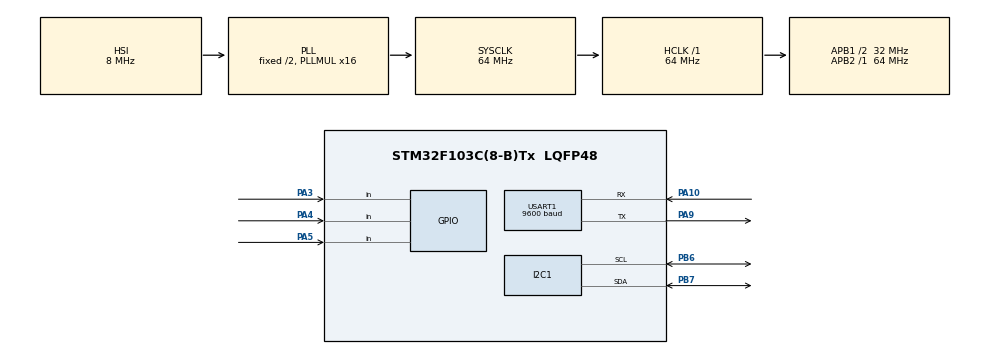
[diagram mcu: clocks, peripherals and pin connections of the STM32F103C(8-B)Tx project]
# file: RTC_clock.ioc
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Mcu.Family=STM32F1
Mcu.Name=STM32F103C(8-B)Tx
Mcu.Package=LQFP48
NVIC.PriorityGroup=NVIC_PRIORITYGROUP_4
NVIC.TIM2_IRQn=true\:1\:0\:true\:false\:true\:true\:true\:true
PA10.Mode=Asynchronous
PA10.Signal=USART1_RX
PA13.Mode=Serial_Wire
PA13.Signal=SYS_JTMS-SWDIO
PA14.Mode=Serial_Wire
PA14.Signal=SYS_JTCK-SWCLK
PA3.GPIO_PuPd=GPIO_PULLUP
PA3.Signal=GPIO_Input
PA4.GPIO_PuPd=GPIO_PULLUP
PA4.Signal=GPIO_Input
PA5.GPIO_PuPd=GPIO_PULLUP
PA5.Signal=GPIO_Input
PA9.Mode=Asynchronous
PA9.Signal=USART1_TX
PB6.Mode=I2C
PB6.Signal=I2C1_SCL
PB7.Mode=I2C
PB7.Signal=I2C1_SDA
ProjectManager.HeapSize=0x200
ProjectManager.StackSize=0x400
ProjectManager.TargetToolchain=STM32CubeIDE
RCC.AHBFreq_Value=64000000
RCC.APB1CLKDivider=RCC_HCLK_DIV2
RCC.APB1Freq_Value=32000000
RCC.APB1TimFreq_Value=64000000
RCC.APB2Freq_Value=64000000
RCC.APB2TimFreq_Value=64000000
RCC.HCLKFreq_Value=64000000
RCC.PLLMUL=RCC_PLL_MUL16
RCC.SYSCLKFreq_VALUE=64000000
RCC.SYSCLKSource=RCC_SYSCLKSOURCE_PLLCLK
RCC.USBFreq_Value=64000000
TIM2.Period=999
TIM2.Prescaler=63999
USART1.BaudRate=9600
USART1.VirtualMode=VM_ASYNC
VP_TIM2_VS_ClockSourceINT.Mode=Internal
board=custom

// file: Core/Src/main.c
/* USER CODE BEGIN Header */
/**
  ******************************************************************************
  * @file           : main.c
  * @brief          : Main program body
  ******************************************************************************
  * @attention
  *
  * Copyright (c) 2024 STMicroelectronics.
  * All rights reserved.
  *
  * This software is licensed under terms that can be found in the LICENSE file
  * in the root directory of this software component.
  * If no LICENSE file comes with this software, it is provided AS-IS.
  *
  ******************************************************************************
  */
/* USER CODE END Header */
#include "main.h"

/* USER CODE BEGIN Includes */
#include "rtc.h"
#include "LiquidCrystal_I2C.h"
#include "Button.h"
#include "DFPLAYER.h"
#include "stdbool.h"
/* USER CODE END Includes */

I2C_HandleTypeDef hi2c1;

TIM_HandleTypeDef htim2;

UART_HandleTypeDef huart1;

void SystemClock_Config(void);
static void MX_GPIO_Init(void);
static void MX_I2C1_Init(void);
static void MX_TIM2_Init(void);
static void MX_USART1_UART_Init(void);

/* USER CODE BEGIN 0 */
typedef enum
{
	alarm_mode,
	idle_mode,
	adjust_mode,
	timer_mode,
	select_ringtone,
}clock_mode;
clock_mode Mode = idle_mode;

typedef enum
{
	backlight_on,
	backlight_off,
}backlight_state;
backlight_state lcd_backlight = backlight_on;

typedef enum
{
	no_adjust,
	second_adjust,
	minute_adjust,
	hour_adjust,
	day_adjust,
	month_adjust,
	year_adjust,
}time_adjust;
time_adjust adjust_state = no_adjust;

typedef struct
{
	uint8_t hour;
	uint8_t minute;

}Time_alarm;
Time_alarm Time_to_alarm;

typedef enum
{
	alarm_not_set,
	alarm_setted,

}alarm_state;
alarm_state state_alarm = alarm_not_set;

typedef enum
{
	alarm_is_ringing,
	alarm_is_not_ring,
}alarm_has_ring_or_not;
alarm_has_ring_or_not alarm_flag = alarm_is_not_ring;

typedef struct
{
	uint8_t hour;
	uint8_t min;
	uint8_t sec;
	uint16_t milisec;
}Timer_time;
Timer_time display_timer;

bool timer_state = false;

LiquidCrystal_I2C hlcd;
RTC_Typedef ds3231;
DFPLAYER_Name mini_player;
Button_Typdef Button3;
Button_Typdef Button4;
Button_Typdef Button5;
uint32_t temp = 0;

uint8_t demo_track = 1;
uint8_t track_num = 1;

void HAL_TIM_PeriodElapsedCallback(TIM_HandleTypeDef *htim)
{
  if(htim->Instance == htim2.Instance)
  {
	  if(display_timer.sec == 59)
	  {

		  display_timer.sec = 0;
		  if(display_timer.min == 59)
		  {
			  display_timer.min = 0;
			  display_timer.hour++;
		  }
		  else{
		  display_timer.min++;
		  }
	  }
	  else
	  {
		  display_timer.sec++;
	  }

  }
}

void btn_press_short_callback(Button_Typdef *ButtonX )
{
	if(ButtonX == &Button3)
	{
		if (Mode == idle_mode)
		{
			Mode = adjust_mode;
			lcd_clear_display(&hlcd);
			HAL_Delay(1);
		}
		else if (Mode == alarm_mode)
		{
			state_alarm = alarm_setted;
			Mode = idle_mode;
			lcd_clear_display(&hlcd);
			HAL_Delay(1);
		}
		else
		{
			adjust_state = no_adjust;
			Mode = idle_mode;
			lcd_clear_display(&hlcd);
			HAL_Delay(1);
		}
	}
	if(ButtonX == &Button4)
	{
		if (Mode == adjust_mode)
		{
			switch(adjust_state)
			{
			case no_adjust:
				adjust_state = second_adjust;
				break;
			case second_adjust:
				adjust_state = minute_adjust;
				break;
			case minute_adjust:
				adjust_state = hour_adjust;
				break;
			case hour_adjust:
				adjust_state = day_adjust;
				break;
			case day_adjust:
				adjust_state = month_adjust;
				break;
			case month_adjust:
				adjust_state = year_adjust;
				break;
			case year_adjust:
				adjust_state = no_adjust;
				break;
			}
		}
		else if (Mode == alarm_mode)
		{
			switch(adjust_state)
			{
			case no_adjust:
				adjust_state = minute_adjust;
				break;
			case minute_adjust:
				adjust_state = hour_adjust;
				break;
			case hour_adjust:
				adjust_state = no_adjust;
				break;
			default:
				break;
			}
		}
		else if (Mode == timer_mode)
		{
			// start/stop  timer
			if(timer_state == false)
			{
				HAL_TIM_Base_Start_IT(&htim2);
				timer_state = true;
			}
			else
			{
				HAL_TIM_Base_Stop_IT(&htim2);
				timer_state = false;
			}

		}
		else if (Mode == select_ringtone)
		{
			if(demo_track <9)
			{
				demo_track++;
			}
			else
			{
				demo_track = 1;
			}
			DFPLAYER_PlayTrack(&mini_player, demo_track);
		}
	}
	if(ButtonX == &Button5)
	{
		if(state_alarm == alarm_setted && alarm_flag == alarm_is_ringing)
		{
			state_alarm = alarm_not_set;
			alarm_flag = alarm_is_not_ring;
			DFPLAYER_Stop(&mini_player);
		}
		else{
			if(Mode == idle_mode)
			{
				if(lcd_backlight == backlight_on)
				{
					lcd_backlight_off(&hlcd);
					lcd_backlight = backlight_off;
				}
				else if(lcd_backlight == backlight_off)
				{
					lcd_backlight_on(&hlcd);
					lcd_backlight = backlight_on;
				}
			}
			if (Mode == alarm_mode)
			{
				// adjust time to alarm
				switch (adjust_state) {
					case minute_adjust:
						if(Time_to_alarm.minute == 59)
						{
							Time_to_alarm.minute = 0;
						}
						else
						{
							Time_to_alarm.minute++;
						}
						break;
					case hour_adjust:
						if(Time_to_alarm.hour == 23)
						{
							Time_to_alarm.hour = 0;
						}
						else
						{
							Time_to_alarm.hour++;
						}
						break;
					default:
						break;
				}
			}
			if(Mode == adjust_mode)
			{
				// adjust time
				switch(adjust_state)
				{
				case second_adjust:
					RTC_ReadTime(&ds3231, ds3231.time);
					if(ds3231.time->sec == 59)
					{
						ds3231.time->sec = 0;
					}
					else
					{
						ds3231.time->sec++;
					}
					RTC_WriteTime(&ds3231, ds3231.time);
					break;
				case minute_adjust:
					RTC_ReadTime(&ds3231, ds3231.time);
					if(ds3231.time->min == 59)
					{
						ds3231.time->min = 0;
					}
					else
					{
						ds3231.time->min++;
					}
					RTC_WriteTime(&ds3231, ds3231.time);
					break;
				case hour_adjust:
					RTC_ReadTime(&ds3231, ds3231.time);
					if(ds3231.time->hour == 23)
					{
						ds3231.time->hour = 0;
					}
					else
					{
						ds3231.time->hour++;
					}
					RTC_WriteTime(&ds3231, ds3231.time);
					break;
				case day_adjust:
					RTC_ReadTime(&ds3231, ds3231.time);
					if(ds3231.time->date == 31)
					{
						ds3231.time->date = 1;
					}
					else
					{
						ds3231.time->date++;
					}
					RTC_WriteTime(&ds3231, ds3231.time);
					break;
				case month_adjust:
					RTC_ReadTime(&ds3231, ds3231.time);
					if(ds3231.time->month == 12)
					{
						ds3231.time->month = 1;
					}
					else
					{
						ds3231.time->month++;
					}
					RTC_WriteTime(&ds3231, ds3231.time);
					break;
				case year_adjust:
					RTC_ReadTime(&ds3231, ds3231.time);
					if(ds3231.time->year == 99)
					{
						ds3231.time->year = 1;
					}
					else
					{
						ds3231.time->year++;
					}
					RTC_WriteTime(&ds3231, ds3231.time);
					break;
				case no_adjust:
					break;
				}
			}
			if(Mode == timer_mode)
			{
				// reset timer
				HAL_TIM_Base_Stop(&htim2);
				display_timer.hour = 0;
				display_timer.min = 0;
				display_timer.sec = 0;
				htim2.Instance->CNT = 0;
				timer_state = false;
			}
			if(Mode == select_ringtone)
			{
				track_num = demo_track;
				DFPLAYER_Stop(&mini_player);
				Mode = idle_mode;
				lcd_clear_display(&hlcd);
				HAL_Delay(1);
			}
		}
	}
}

void btn_press_timeout1s_callback(Button_Typdef *ButtonX)
{
	if(ButtonX == &Button3)
	{
		Mode = select_ringtone;
		lcd_clear_display(&hlcd);
		HAL_Delay(1);
	}
}

void btn_press_timeout2s_callback(Button_Typdef *ButtonX)
{
	if(ButtonX == &Button3)
	{
		adjust_state = no_adjust;
		Mode = alarm_mode;
		lcd_clear_display(&hlcd);
		HAL_Delay(1);
//		temp++;
	}
	if(ButtonX == &Button4)
	{
//		if(Mode == alarm_mode)
//		{
//			state_alarm = alarm_setted;
//		}
	}
}

void btn_press_timeout3s_callback(Button_Typdef *ButtonX)
{
	if(ButtonX == &Button3)
	{
		adjust_state = no_adjust;
		Mode = timer_mode;
		lcd_clear_display(&hlcd);
		HAL_Delay(1);
	}
}

void alarm_handle()
{
	  if(state_alarm == alarm_setted && alarm_flag == alarm_is_not_ring)
	  {
		  if(Time_to_alarm.hour == ds3231.time->hour && Time_to_alarm.minute == ds3231.time->min)
		  {
			  alarm_flag = alarm_is_ringing;
			  DFPLAYER_PlayTrack(&mini_player, track_num);
		  }
	  }
	  if(state_alarm == alarm_setted && alarm_flag == alarm_is_ringing)
	  {

		  if(HAL_GetTick() - temp >= 1000){
			  if(lcd_backlight ==  backlight_on){
				  lcd_backlight_off(&hlcd);
				  lcd_backlight = backlight_off;
			  }
			  else{
				  lcd_backlight_on(&hlcd);
				  lcd_backlight = backlight_on;
			  }
			  temp = HAL_GetTick();
		  }
	  }
}
void display_handle()
{
	switch(Mode)
	{
	case idle_mode:
		RTC_ReadTime(&ds3231,ds3231.time);
		lcd_set_cursor(&hlcd, 1,4);
		lcd_printf(&hlcd, "%02d:%02d:%02d",ds3231.time->hour,
				ds3231.time->min, ds3231.time->sec);
		lcd_set_cursor(&hlcd, 0,4);
		lcd_printf(&hlcd, "%02d-%02d-%02d",ds3231.time->date,
				ds3231.time->month,ds3231.time->year);
		break;
	case adjust_mode:
		RTC_ReadTime(&ds3231,ds3231.time);
		lcd_set_cursor(&hlcd, 1,4);
		lcd_printf(&hlcd, "%02d:%02d:%02d",ds3231.time->hour,
				ds3231.time->min, ds3231.time->sec);
		lcd_set_cursor(&hlcd, 0,4);
		lcd_printf(&hlcd, "%02d-%02d-%02d",ds3231.time->date,
				ds3231.time->month,ds3231.time->year);
		break;
	case timer_mode:
		lcd_set_cursor(&hlcd, 0, 2);
		lcd_printf(&hlcd, "Sport Timer");
		lcd_set_cursor(&hlcd, 1, 2);
		lcd_printf(&hlcd, "%02d:%02d:%02d.%03d",display_timer.hour, display_timer.min, display_timer.sec, htim2.Instance->CNT);
		break;
	case alarm_mode:
		lcd_set_cursor(&hlcd, 0, 2);
		lcd_printf(&hlcd, "Alarm Mode");
		lcd_set_cursor(&hlcd, 1,2);
		lcd_printf(&hlcd, "%02d-%02d",Time_to_alarm.hour, Time_to_alarm.minute);
		break;
	case select_ringtone:
		lcd_set_cursor(&hlcd, 0, 2);
		lcd_printf(&hlcd, "Select ringtone");
		lcd_set_cursor(&hlcd, 1,0);
		lcd_printf(&hlcd, "Track number:%02d",demo_track);
		break;

	}
}
/* USER CODE END 0 */

int main(void)
{
  /* USER CODE BEGIN 1 */

	DateTime date1;
 	date1.date = 1;
	date1.day = 31;
	date1.month = 11;
	date1.year = 24;
	date1.hour = 10;
	date1.min = 30;
	date1.sec = 0;
	RTC_WriteTime(&ds3231, &date1);
  /* USER CODE END 1 */

  /* MCU Configuration--------------------------------------------------------*/

  /* Reset of all peripherals, Initializes the Flash interface and the Systick. */
  HAL_Init();

  /* Configure the system clock */
  SystemClock_Config();

  /* Initialize all configured peripherals */
  MX_GPIO_Init();
  MX_I2C1_Init();
  MX_TIM2_Init();
  MX_USART1_UART_Init();
  /* USER CODE BEGIN 2 */
  button_init(&Button3, GPIOA, GPIO_PIN_3);
  button_init(&Button4, GPIOA, GPIO_PIN_4);
  button_init(&Button5, GPIOA, GPIO_PIN_5);
  RTC_Init(&ds3231, &hi2c1, &date1);
  DFPLAYER_Init(&mini_player, &huart1);
  lcd_init(&hlcd, &hi2c1, LCD_ADDR_DEFAULT);
  DFPLAYER_SetVolume(&mini_player, 27);

//  lcd_printf(&hlcd, "Ngu_vl");

  /* USER CODE END 2 */

  /* Infinite loop */
  while (1)
  {

    /* USER CODE BEGIN 3 */
//	  lcd_backlight_off(&hlcd);
//	  HAL_Delay(500);
//	  lcd_backlight_on(&hlcd);
//	  HAL_Delay(500);
	  button_handle(&Button3);
	  button_handle(&Button4);
	  button_handle(&Button5);
	  display_handle();
	  alarm_handle();
  }
  /* USER CODE END 3 */
}

void SystemClock_Config(void)
{
  RCC_OscInitTypeDef RCC_OscInitStruct = {0};
  RCC_ClkInitTypeDef RCC_ClkInitStruct = {0};

  /** Initializes the RCC Oscillators according to the specified parameters
  * in the RCC_OscInitTypeDef structure.
  */
  RCC_OscInitStruct.OscillatorType = RCC_OSCILLATORTYPE_HSI;
  RCC_OscInitStruct.HSIState = RCC_HSI_ON;
  RCC_OscInitStruct.HSICalibrationValue = RCC_HSICALIBRATION_DEFAULT;
  RCC_OscInitStruct.PLL.PLLState = RCC_PLL_ON;
  RCC_OscInitStruct.PLL.PLLSource = RCC_PLLSOURCE_HSI_DIV2;
  RCC_OscInitStruct.PLL.PLLMUL = RCC_PLL_MUL16;
  if (HAL_RCC_OscConfig(&RCC_OscInitStruct) != HAL_OK)
  {
    Error_Handler();
  }

  /** Initializes the CPU, AHB and APB buses clocks
  */
  RCC_ClkInitStruct.ClockType = RCC_CLOCKTYPE_HCLK|RCC_CLOCKTYPE_SYSCLK
                              |RCC_CLOCKTYPE_PCLK1|RCC_CLOCKTYPE_PCLK2;
  RCC_ClkInitStruct.SYSCLKSource = RCC_SYSCLKSOURCE_PLLCLK;
  RCC_ClkInitStruct.AHBCLKDivider = RCC_SYSCLK_DIV1;
  RCC_ClkInitStruct.APB1CLKDivider = RCC_HCLK_DIV2;
  RCC_ClkInitStruct.APB2CLKDivider = RCC_HCLK_DIV1;

  if (HAL_RCC_ClockConfig(&RCC_ClkInitStruct, FLASH_LATENCY_2) != HAL_OK)
  {
    Error_Handler();
  }
}

static void MX_I2C1_Init(void)
{

  hi2c1.Instance = I2C1;
  hi2c1.Init.ClockSpeed = 100000;
  hi2c1.Init.DutyCycle = I2C_DUTYCYCLE_2;
  hi2c1.Init.OwnAddress1 = 0;
  hi2c1.Init.AddressingMode = I2C_ADDRESSINGMODE_7BIT;
  hi2c1.Init.DualAddressMode = I2C_DUALADDRESS_DISABLE;
  hi2c1.Init.OwnAddress2 = 0;
  hi2c1.Init.GeneralCallMode = I2C_GENERALCALL_DISABLE;
  hi2c1.Init.NoStretchMode = I2C_NOSTRETCH_DISABLE;
  if (HAL_I2C_Init(&hi2c1) != HAL_OK)
  {
    Error_Handler();
  }

}

static void MX_TIM2_Init(void)
{

  TIM_ClockConfigTypeDef sClockSourceConfig = {0};
  TIM_MasterConfigTypeDef sMasterConfig = {0};

  htim2.Instance = TIM2;
  htim2.Init.Prescaler = 63999;
  htim2.Init.CounterMode = TIM_COUNTERMODE_UP;
  htim2.Init.Period = 999;
  htim2.Init.ClockDivision = TIM_CLOCKDIVISION_DIV1;
  htim2.Init.AutoReloadPreload = TIM_AUTORELOAD_PRELOAD_DISABLE;
  if (HAL_TIM_Base_Init(&htim2) != HAL_OK)
  {
    Error_Handler();
  }
  sClockSourceConfig.ClockSource = TIM_CLOCKSOURCE_INTERNAL;
  if (HAL_TIM_ConfigClockSource(&htim2, &sClockSourceConfig) != HAL_OK)
  {
    Error_Handler();
  }
  sMasterConfig.MasterOutputTrigger = TIM_TRGO_RESET;
  sMasterConfig.MasterSlaveMode = TIM_MASTERSLAVEMODE_DISABLE;
  if (HAL_TIMEx_MasterConfigSynchronization(&htim2, &sMasterConfig) != HAL_OK)
  {
    Error_Handler();
  }

}

static void MX_USART1_UART_Init(void)
{

  huart1.Instance = USART1;
  huart1.Init.BaudRate = 9600;
  huart1.Init.WordLength = UART_WORDLENGTH_8B;
  huart1.Init.StopBits = UART_STOPBITS_1;
  huart1.Init.Parity = UART_PARITY_NONE;
  huart1.Init.Mode = UART_MODE_TX_RX;
  huart1.Init.HwFlowCtl = UART_HWCONTROL_NONE;
  huart1.Init.OverSampling = UART_OVERSAMPLING_16;
  if (HAL_UART_Init(&huart1) != HAL_OK)
  {
    Error_Handler();
  }

}

static void MX_GPIO_Init(void)
{
  GPIO_InitTypeDef GPIO_InitStruct = {0};

  /* GPIO Ports Clock Enable */
  __HAL_RCC_GPIOA_CLK_ENABLE();
  __HAL_RCC_GPIOB_CLK_ENABLE();

  /*Configure GPIO pins : PA3 PA4 PA5 */
  GPIO_InitStruct.Pin = GPIO_PIN_3|GPIO_PIN_4|GPIO_PIN_5;
  GPIO_InitStruct.Mode = GPIO_MODE_INPUT;
  GPIO_InitStruct.Pull = GPIO_PULLUP;
  HAL_GPIO_Init(GPIOA, &GPIO_InitStruct);

}

void Error_Handler(void)
{
  __disable_irq();
  while (1)
  {
  }
}
